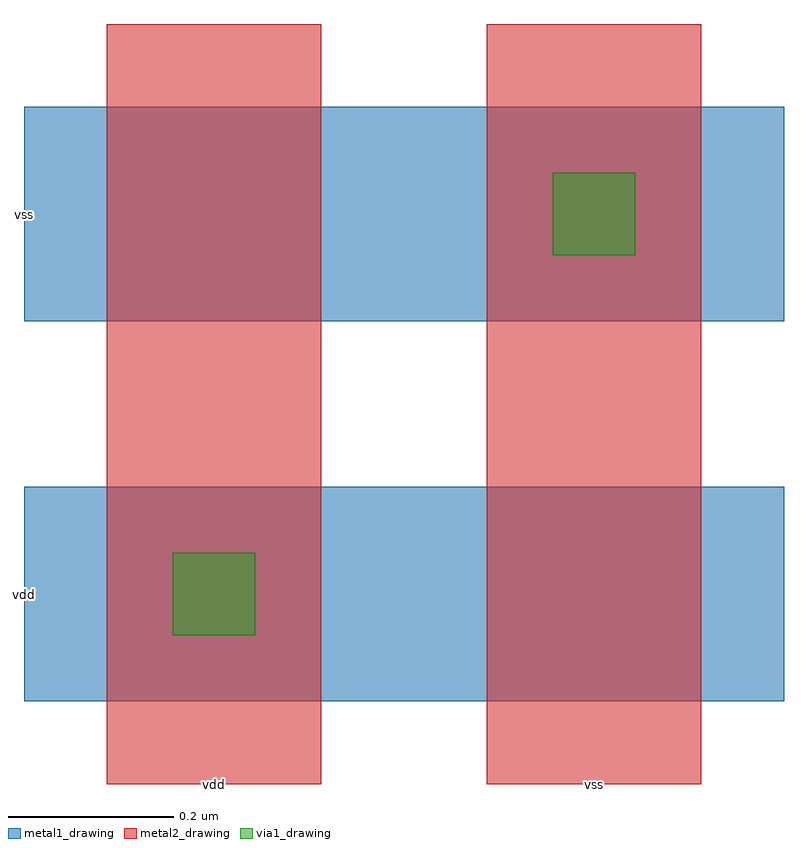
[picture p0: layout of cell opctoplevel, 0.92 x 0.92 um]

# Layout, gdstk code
import gdstk
lib = gdstk.Library(unit=1e-6, precision=1e-09)
def R(c, l, rs):  # rectangles x0, y0, x1, y1
    for r in rs: c.add(gdstk.rectangle(r[:2], r[2:], *l))
metal1_drawing = (8, 0)
via1_drawing = (9, 0)
metal2_drawing = (10, 0)

opctoplevel = lib.new_cell('opctoplevel')
R(opctoplevel, metal1_drawing, [(-0.46,-0.36,0.46,-0.1), (-0.46,0.1,0.46,0.36)])
R(opctoplevel, via1_drawing, [(-0.28,-0.28,-0.18,-0.18), (0.18,0.18,0.28,0.28)])
R(opctoplevel, metal2_drawing, [(-0.36,-0.46,-0.1,0.46), (0.1,-0.46,0.36,0.46)])
opctoplevel.add(gdstk.Label('vdd', (-0.46,-0.23), layer=8, texttype=0))
opctoplevel.add(gdstk.Label('vss', (-0.46,0.23), layer=8, texttype=0))
opctoplevel.add(gdstk.Label('vdd', (-0.23,-0.46), layer=10, texttype=0))
opctoplevel.add(gdstk.Label('vss', (0.23,-0.46), layer=10, texttype=0))

lib.write_gds('opctoplevel.gds')
